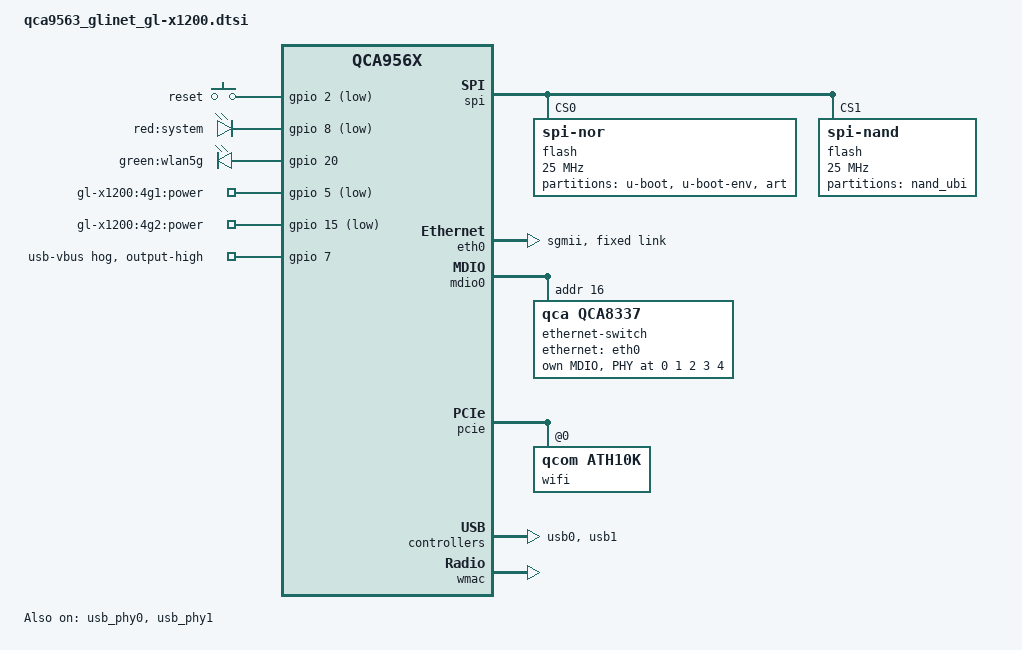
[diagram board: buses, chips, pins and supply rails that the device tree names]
// SPDX-License-Identifier: GPL-2.0-or-later OR MIT

#include "qca956x.dtsi"
#include "qca956x_ag71xx.dtsi"

#include <dt-bindings/gpio/gpio.h>
#include <dt-bindings/input/input.h>

/ {
	aliases {
		led-boot = &led_system;
		led-failsafe = &led_system;
		led-running = &led_system;
		led-upgrade = &led_system;
		label-mac-device = &eth0;
	};

	keys {
		compatible = "gpio-keys";

		pinctrl-names = "default";
		pinctrl-0 = <&jtag_disable_pins>;

		reset {
			label = "reset";
			linux,code = <KEY_RESTART>;
			gpios = <&gpio 2 GPIO_ACTIVE_LOW>;
		};
	};

	leds {
		compatible = "gpio-leds";

		led_system: system {
			label = "red:system";
			gpios = <&gpio 8 GPIO_ACTIVE_LOW>;
			default-state = "keep";
		};

		wlan5g {
			label = "green:wlan5g";
			gpios = <&gpio 20 GPIO_ACTIVE_HIGH>;
			linux,default-trigger = "phy0tpt";
		};
	};

	gpio-export {
		compatible = "gpio-export";

		gpio_modem1_power {
			gpio-export,name = "gl-x1200:4g1:power";
			gpio-export,output = <0>;
			gpios = <&gpio 5 GPIO_ACTIVE_LOW>;
		};

		gpio_modem2_power {
			gpio-export,name = "gl-x1200:4g2:power";
			gpio-export,output = <0>;
			gpios = <&gpio 15 GPIO_ACTIVE_LOW>;
		};
	};
};

&spi {
	status = "okay";

	flash@0 {
		compatible = "jedec,spi-nor";
		reg = <0>;
		spi-max-frequency = <25000000>;

		nor_partitions: partitions {
			compatible = "fixed-partitions";
			#address-cells = <1>;
			#size-cells = <1>;

			partition@0 {
				label = "u-boot";
				reg = <0x000000 0x040000>;
				read-only;
			};

			partition@40000 {
				label = "u-boot-env";
				reg = <0x040000 0x010000>;
			};

			partition@50000 {
				label = "art";
				reg = <0x050000 0x010000>;
				read-only;

				nvmem-layout {
					compatible = "fixed-layout";
					#address-cells = <1>;
					#size-cells = <1>;

					calibration_ath9k: calibration@1000 {
						reg = <0x1000 0x440>;
					};

					calibration_ath10k: calibration@5000 {
						reg = <0x5000 0x2f20>;
					};

					macaddr_art_0: macaddr@0 {
						reg = <0x0 0x6>;
					};
				};
			};

			/* Firmware / Kernel flash type specific */
		};
	};

	flash@1 {
		compatible = "spi-nand";
		reg = <1>;
		spi-max-frequency = <25000000>;

		partitions {
			compatible = "fixed-partitions";
			#address-cells = <1>;
			#size-cells = <1>;

			nand_ubi: partition@0 {
				label = "nand_ubi";
				reg = <0x000000 0x8000000>;
			};
		};
	};
};

&eth0 {
	status = "okay";

	phy-mode = "sgmii";

	nvmem-cells = <&macaddr_art_0>;
	nvmem-cell-names = "mac-address";

	fixed-link {
		speed = <1000>;
		full-duplex;
	};
};

&gpio {
	usb_vbus {
		gpio-hog;
		gpios = <7 GPIO_ACTIVE_HIGH>;
		output-high;
		line-name = "usb-vbus";
	};
};

&mdio0 {
	status = "okay";

	ethernet-switch@10 {
		compatible = "qca,qca8337";
		#address-cells = <1>;
		#size-cells = <0>;
		reg = <0x10>;

		ethernet-ports {
			#address-cells = <1>;
			#size-cells = <0>;

			ethernet-port@0 {
				reg = <0>;
				ethernet = <&eth0>;
				phy-mode = "sgmii";
				qca,sgmii-rxclk-falling-edge;

				fixed-link {
					speed = <1000>;
					full-duplex;
				};
			};

			ethernet-port@1 {
				reg = <1>;
				label = "lan4";
				phy-mode = "internal";
				phy-handle = <&phy_port1>;
			};

			ethernet-port@2 {
				reg = <2>;
				label = "lan3";
				phy-mode = "internal";
				phy-handle = <&phy_port2>;
			};

			ethernet-port@3 {
				reg = <3>;
				label = "lan2";
				phy-mode = "internal";
				phy-handle = <&phy_port3>;
			};

			ethernet-port@4 {
				reg = <4>;
				label = "lan1";
				phy-mode = "internal";
				phy-handle = <&phy_port4>;
			};

			ethernet-port@5 {
				reg = <5>;
				label = "wan";
				phy-mode = "internal";
				phy-handle = <&phy_port5>;
			};
		};

		mdio {
			#address-cells = <1>;
			#size-cells = <0>;

			phy_port1: ethernet-phy@0 {
				reg = <0>;
			};

			phy_port2: ethernet-phy@1 {
				reg = <1>;
			};

			phy_port3: ethernet-phy@2 {
				reg = <2>;
			};

			phy_port4: ethernet-phy@3 {
				reg = <3>;
			};

			phy_port5: ethernet-phy@4 {
				reg = <4>;
			};
		};
	};
};

&pcie {
	status = "okay";

	wifi@0,0 {
		compatible = "qcom,ath10k";
		reg = <0 0 0 0 0>;

		nvmem-cells = <&calibration_ath10k>;
		nvmem-cell-names = "pre-calibration";
	};
};

&usb0 {
	status = "okay";
};

&usb1 {
	status = "okay";
};

&usb_phy0 {
	status = "okay";
};

&usb_phy1 {
	status = "okay";
};

&wmac {
	status = "okay";

	nvmem-cells = <&calibration_ath9k>;
	nvmem-cell-names = "calibration";

	led {
		led-sources = <19>;
		led-active-low;
	};
};
